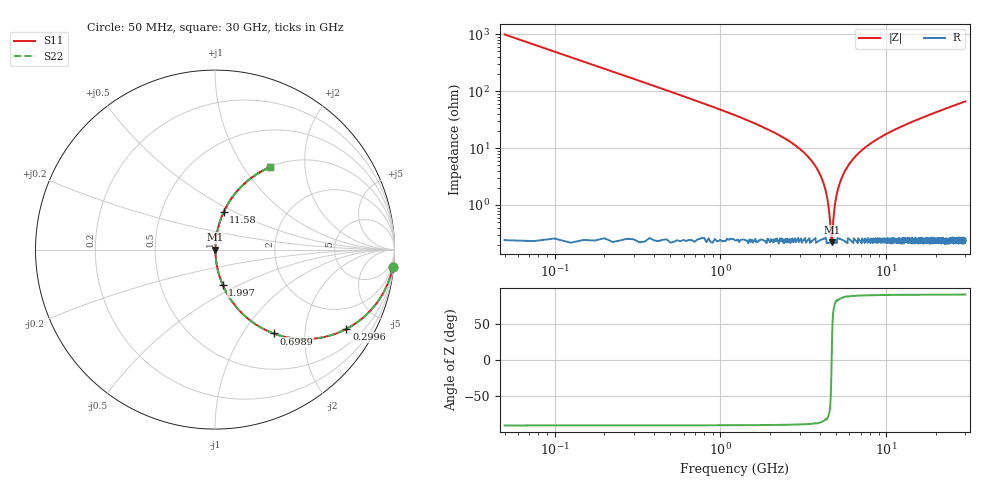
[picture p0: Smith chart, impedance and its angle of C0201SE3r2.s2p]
!	AVX Thin Film Operation 	Date: April 2014
!	Description: Accu-P® Series, Thin Film  SMD RF Capacitor
!	Part Number: 02013J3R2ABSTR
# MHZ S MA R 50
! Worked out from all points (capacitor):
!   1201 points, 50 MHz to 30 GHz, reference 50 ohm
!   read as one part in series: C = 3.2 pF near 199.8 MHz
!   lowest |Z| = 222 mohm at 4.692 GHz (marker M1)
!   series resonance near 4.684 GHz, so ESL is about 360 pH
!   S11 on the Smith chart (normalised r, x): 50 MHz: 1, -20; 299.6 MHz: 1.01, -3.31; 698.9 MHz: 1.01, -1.39; 1.997 GHz: 1.00, -0.41; 11.58 GHz: 1.00, +0.44; 30 GHz: 1.00, +1.33
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50  0.995 -5.7  0.1 84.2  0.1 84.2  0.995 -5.7
299.583  0.855 -31.1  0.517 58.8  0.517 58.8  0.855 -31.1
698.917  0.57 -55.0  0.82 34.8  0.82 34.8  0.57 -55.0
1198.083  0.361 -68.5  0.93 21.2  0.93 21.2  0.361 -68.5
1996.75  0.199 -77.8  0.978 11.5  0.978 11.5  0.199 -77.8
3194.75  0.083 -83.6  0.994 4.7  0.994 4.7  0.083 -83.6
3893.583  0.039 -84.3  0.997 2.3  0.997 2.3  0.039 -84.3
4292.917  0.019 -81.6  0.997 1.1  0.997 1.1  0.019 -81.6
4417.708  0.013 -78.5  0.998 0.7  0.998 0.7  0.013 -78.5
4592.417  0.004808 -60.2  0.998 0.2  0.998 0.2  0.004808 -60.2
4692.25  0.002404 9.0  0.998 -0.0  0.998 -0.0  0.002404 9.0
4792.083  0.005388 63.6  0.998 -0.3  0.998 -0.3  0.005388 63.6
5041.667  0.016 80.5  0.998 -0.9  0.998 -0.9  0.016 80.5
5540.833  0.036 84.2  0.997 -2.0  0.997 -2.0  0.036 84.2
6489.25  0.07 84.0  0.995 -4.0  0.995 -4.0  0.07 84.0
7936.833  0.116 82.2  0.991 -6.7  0.991 -6.7  0.116 82.2
10058.29  0.175 79.1  0.982 -10.1  0.982 -10.1  0.175 79.1
11580.75  0.214 77.0  0.975 -12.4  0.975 -12.4  0.214 77.0
15025  0.293 72.5  0.954 -17.1  0.954 -17.1  0.293 72.5
20016.67  0.393 66.5  0.917 -23.2  0.917 -23.2  0.393 66.5
25033.29  0.479 61.1  0.875 -28.6  0.875 -28.6  0.479 61.1
30000  0.552 56.3  0.832 -33.5  0.832 -33.5  0.552 56.3
